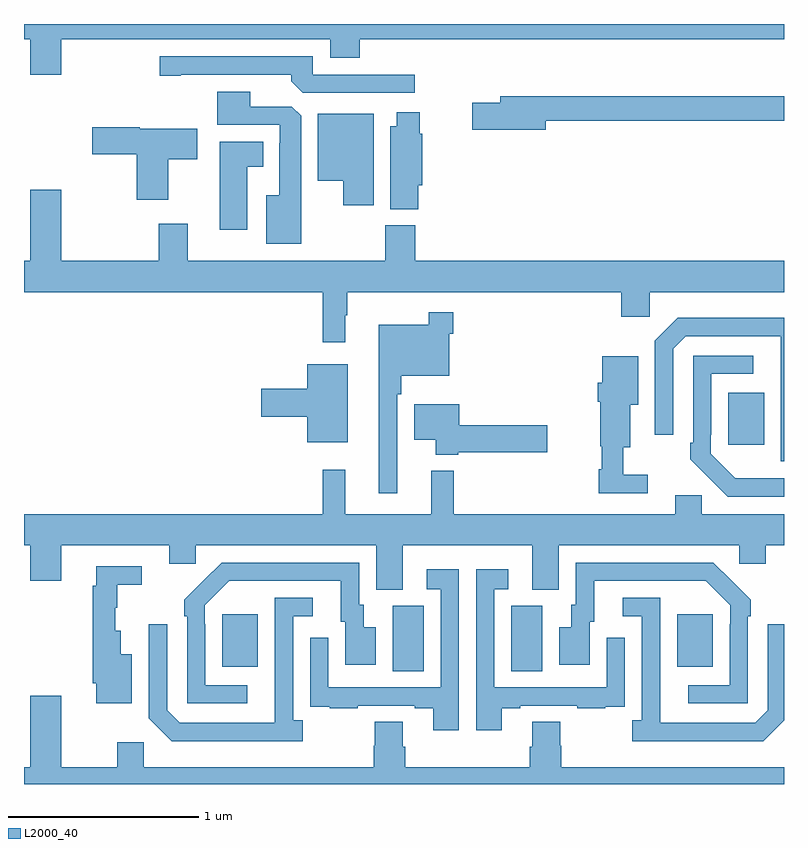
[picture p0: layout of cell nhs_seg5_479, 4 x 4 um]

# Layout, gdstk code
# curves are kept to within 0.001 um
import gdstk
lib = gdstk.Library(unit=1e-6, precision=1e-09)
def R(c, l, rs):  # rectangles x0, y0, x1, y1
    for r in rs: c.add(gdstk.rectangle(r[:2], r[2:], *l))
def P(c, l, *ps):  # polygons
    for p in ps: c.add(gdstk.Polygon(p, *l))
L2000_40 = (2000, 40)

nhs_seg5_479 = lib.new_cell('nhs_seg5_479')
R(nhs_seg5_479, L2000_40, [(142.94,893.392,143.104,893.736), (143.564,893.392,143.728,893.736), (142.043,893.417,142.231,893.692), (144.437,893.417,144.625,893.692), (144.707,894.585,144.895,894.859)])
P(nhs_seg5_479, L2000_40, [(141.196,896.72),(142.613,896.72),(142.613,896.621),(142.766,896.621),(142.766,896.72),(145,896.72),(145,896.799),(141,896.799),(141,896.72),(141.032,896.72),(141.032,896.532),(141.196,896.532)],
  [(143.056,896.532),(142.521,896.532),(142.521,896.628),(141.714,896.628),(141.714,896.527),(141.826,896.527),(141.826,896.532),(142.406,896.532),(142.406,896.498),(142.467,896.436),(143.056,896.436)],
  [(142.459,896.315),(142.41,896.364),(142.192,896.364),(142.192,896.443),(142.016,896.443),(142.016,896.268),(142.347,896.268),(142.347,896.171),(142.343,896.171),(142.343,895.897),(142.274,895.897),(142.274,895.643),(142.459,895.643)],
  [(143.746,896.29),(145,896.29),(145,896.419),(143.507,896.419),(143.507,896.385),(143.358,896.385),(143.358,896.243),(143.746,896.243)],
  [(143.075,895.95),(143.096,895.95),(143.096,896.222),(143.083,896.222),(143.083,896.335),(142.961,896.335),(142.961,896.26),(142.928,896.26),(142.928,895.825),(143.075,895.825)],
  [(142.84,896.326),(142.547,896.326),(142.547,895.973),(142.679,895.973),(142.679,895.845),(142.84,895.845)],
  [(141.76,896.086),(141.913,896.086),(141.913,896.248),(141.609,896.248),(141.609,896.256),(141.36,896.256),(141.36,896.114),(141.593,896.114),(141.593,895.875),(141.76,895.875)],
  [(142.174,896.048),(142.258,896.048),(142.258,896.179),(142.031,896.179),(142.031,895.716),(142.174,895.716)],
  [(142.69,895.265),(142.702,895.265),(142.702,895.388),(144.143,895.388),(144.143,895.257),(144.294,895.257),(144.294,895.388),(145,895.388),(145,895.552),(143.06,895.552),(143.06,895.74),(142.9,895.74),(142.9,895.552),(141.862,895.552),(141.862,895.747),(141.71,895.747),(141.71,895.552),(141.196,895.552),(141.196,895.927),(141.032,895.927),(141.032,895.552),(141,895.552),(141,895.388),(142.573,895.388),(142.573,895.125),(142.69,895.125)],
  [(142.965,894.851),(142.985,894.851),(142.985,894.947),(143.238,894.947),(143.238,895.169),(143.258,895.169),(143.258,895.282),(143.13,895.282),(143.13,895.216),(142.868,895.216),(142.868,894.33),(142.965,894.33)],
  [(145,895.252),(144.442,895.252),(144.321,895.131),(144.321,894.636),(144.417,894.636),(144.417,895.089),(144.483,895.155),(144.983,895.155),(144.983,894.955),(144.984,894.955),(144.984,894.498),(145,894.498)],
  [(145,894.408),(144.744,894.409),(144.615,894.537),(144.615,894.637),(144.618,894.637),(144.618,894.957),(144.838,894.957),(144.838,895.053),(144.522,895.053),(144.522,894.595),(144.507,894.595),(144.507,894.507),(144.704,894.312),(145,894.312)],
  [(144.283,894.427),(144.154,894.427),(144.154,894.572),(144.19,894.572),(144.19,894.794),(144.232,894.794),(144.232,895.051),(144.044,895.051),(144.044,894.912),(144.02,894.912),(144.02,894.812),(144.032,894.812),(144.032,894.576),(144.04,894.576),(144.04,894.455),(144.025,894.455),(144.025,894.33),(144.283,894.33)],
  [(142.705,895.009),(142.49,895.009),(142.49,894.878),(142.248,894.878),(142.248,894.731),(142.49,894.731),(142.49,894.599),(142.705,894.599)],
  [(143.286,894.544),(143.755,894.544),(143.755,894.686),(143.29,894.686),(143.29,894.799),(143.054,894.799),(143.054,894.611),(143.168,894.611),(143.168,894.533),(143.286,894.533)],
  [(142.993,894.056),(143.675,894.056),(143.675,893.821),(143.815,893.821),(143.815,894.056),(144.765,894.056),(144.765,893.958),(144.904,893.958),(144.904,894.056),(145,894.056),(145,894.22),(144.567,894.22),(144.567,894.318),(144.428,894.318),(144.428,894.22),(143.261,894.22),(143.261,894.448),(143.144,894.448),(143.144,894.22),(142.691,894.22),(142.691,894.454),(142.573,894.454),(142.573,894.22),(141,894.22),(141,894.056),(141.032,894.056),(141.032,893.868),(141.196,893.868),(141.196,894.056),(141.764,894.056),(141.764,893.958),(141.903,893.958),(141.903,894.056),(142.853,894.056),(142.853,893.821),(142.993,893.821)],
  [(142.174,893.319),(141.954,893.319),(141.954,893.639),(141.951,893.639),(141.951,893.739),(142.08,893.868),(142.667,893.868),(142.667,893.652),(142.691,893.652),(142.691,893.427),(142.852,893.427),(142.852,893.623),(142.789,893.623),(142.789,893.742),(142.764,893.742),(142.764,893.964),(142.04,893.964),(141.843,893.769),(141.843,893.681),(141.858,893.681),(141.858,893.223),(142.174,893.223)],
  [(144.81,893.681),(144.825,893.681),(144.825,893.769),(144.628,893.964),(143.904,893.964),(143.904,893.742),(143.879,893.742),(143.879,893.623),(143.816,893.623),(143.816,893.427),(143.977,893.427),(143.977,893.652),(144.001,893.652),(144.001,893.868),(144.589,893.868),(144.717,893.739),(144.717,893.639),(144.714,893.639),(144.714,893.319),(144.495,893.319),(144.495,893.223),(144.81,893.223)],
  [(141.568,893.482),(141.508,893.482),(141.508,893.605),(141.479,893.605),(141.479,893.727),(141.49,893.727),(141.49,893.848),(141.619,893.848),(141.619,893.946),(141.38,893.946),(141.38,893.843),(141.361,893.843),(141.361,893.329),(141.38,893.329),(141.38,893.225),(141.568,893.225)],
  [(143.289,893.929),(143.121,893.929),(143.121,893.823),(143.193,893.823),(143.193,893.307),(142.602,893.307),(142.602,893.569),(142.506,893.569),(142.506,893.314),(142.507,893.314),(142.507,893.205),(142.609,893.205),(142.609,893.199),(142.757,893.199),(142.757,893.211),(143.057,893.211),(143.057,893.199),(143.153,893.199),(143.153,893.082),(143.289,893.082)],
  [(143.515,893.199),(143.611,893.199),(143.611,893.211),(143.911,893.211),(143.911,893.199),(144.059,893.199),(144.059,893.205),(144.161,893.205),(144.161,893.314),(144.162,893.314),(144.162,893.569),(144.066,893.569),(144.066,893.307),(143.475,893.307),(143.475,893.823),(143.548,893.823),(143.548,893.929),(143.379,893.929),(143.379,893.082),(143.515,893.082)],
  [(145,893.134),(145,893.641),(144.915,893.641),(144.915,893.187),(144.849,893.121),(144.349,893.121),(144.348,893.778),(144.15,893.778),(144.15,893.682),(144.252,893.682),(144.252,893.134),(144.201,893.134),(144.201,893.024),(144.89,893.024)],
  [(142.468,893.134),(142.416,893.134),(142.416,893.682),(142.519,893.682),(142.519,893.778),(142.32,893.778),(142.319,893.121),(141.819,893.121),(141.753,893.187),(141.753,893.641),(141.657,893.641),(141.657,893.145),(141.778,893.024),(142.468,893.024)],
  [(145,892.888),(143.828,892.888),(143.828,893.001),(143.823,893.001),(143.823,893.126),(143.675,893.126),(143.675,892.994),(143.663,892.994),(143.663,892.888),(143.006,892.888),(143.006,892.994),(142.993,892.994),(142.993,893.126),(142.846,893.126),(142.846,893.001),(142.841,893.001),(142.841,892.888),(141.63,892.888),(141.63,893.02),(141.491,893.02),(141.491,892.888),(141.196,892.888),(141.196,893.263),(141.032,893.263),(141.032,892.888),(141,892.888),(141,892.799),(145,892.799)])

lib.write_gds('nhs_seg5_479.gds')
